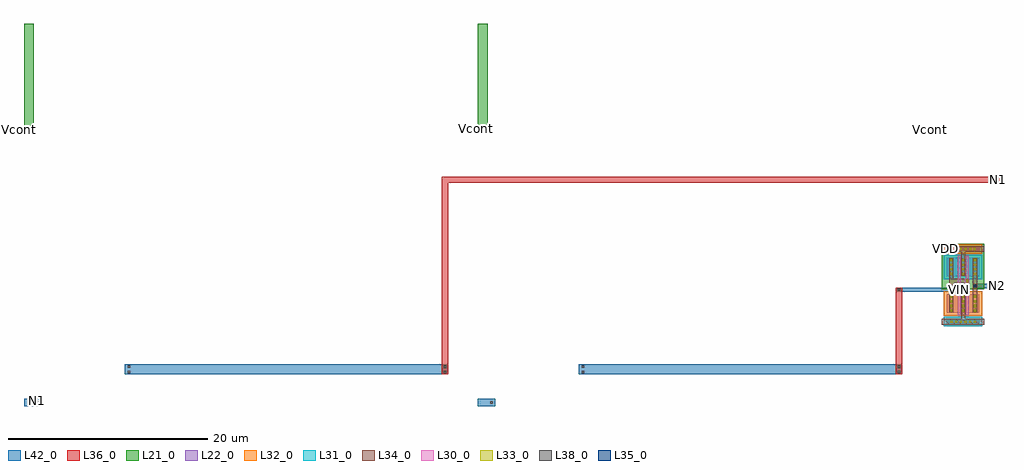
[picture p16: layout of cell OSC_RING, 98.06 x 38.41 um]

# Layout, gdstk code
import gdstk
lib = gdstk.Library(unit=1e-6, precision=5e-09)
def R(c, l, rs):  # rectangles x0, y0, x1, y1
    for r in rs: c.add(gdstk.rectangle(r[:2], r[2:], *l))
def A(c, l, x, y, w, h, nx, ny, dx, dy):  # array of equal rectangles
    R(c, l, [(x+i*dx, y+j*dy, x+i*dx+w, y+j*dy+h) for i in range(nx) for j in range(ny)])
L21_0 = (21, 0)
L22_0 = (22, 0)
L30_0 = (30, 0)
L31_0 = (31, 0)
L32_0 = (32, 0)
L33_0 = (33, 0)
L34_0 = (34, 0)
L35_0 = (35, 0)
L36_0 = (36, 0)
L38_0 = (38, 0)
L42_0 = (42, 0)

buff = lib.new_cell('BUFF')
R(buff, L21_0, [(-0.5,3.58,3.78,8.16)])
R(buff, L22_0, [(0,0.16,3.28,0.52), (0,1.22,3.28,3.09), (0,4.89,3.28,6.76), (0,7.46,3.28,7.82)])
R(buff, L30_0, [(1.1,1,1.38,6.98), (1.9,1,2.18,6.98), (1.02,3.33,1.46,3.77), (1.82,4.21,2.26,4.65)])
R(buff, L31_0, [(-0.3,-0.14,3.58,0.82), (-0.3,4.59,3.58,7.06)])
R(buff, L32_0, [(-0.3,0.92,3.58,3.39), (-0.3,7.16,3.58,8.12)])
A(buff, L33_0, 0.355, 0.23, 0.22, 0.22, 6, 2, 0.47, 7.3)
A(buff, L33_0, 0.34, 1.34, 0.22, 0.22, 1, 4, 0, 0.47)
A(buff, L33_0, 0.34, 1.34, 0.22, 0.22, 3, 4, 1.19, 0.47)
A(buff, L33_0, 0.34, 5.01, 0.22, 0.22, 1, 4, 0, 0.47)
A(buff, L33_0, 0.34, 5.01, 0.22, 0.22, 3, 4, 1.19, 0.47)
R(buff, L33_0, [(1.13,3.44,1.35,3.66), (1.93,4.32,2.15,4.54)])
R(buff, L34_0, [(-0.5,0.04,3.78,0.64), (1.43,0.34,1.85,3.03), (0.24,1.28,0.66,6.7), (2.62,1.28,3.04,6.7), (1.02,3.33,1.46,3.77), (0.24,4.21,2.26,4.65), (1.82,4.21,2.26,4.65), (1.43,4.95,1.85,7.64), (-0.5,7.34,3.78,7.94)])
buff.add(gdstk.Label('VIN', (1.24,3.55), layer=34, texttype=10))
buff.add(gdstk.Label('VOUT', (2.83,3.99), layer=34, texttype=10))
buff.add(gdstk.Label('VSS', (1.64,0.34), layer=34, texttype=10))
buff.add(gdstk.Label('VDD', (1.64,7.64), layer=34, texttype=10))

osc_ring = lib.new_cell('OSC_RING')
R(osc_ring, L21_0, [(44.61,56.46,45.61,67.22), (90.22,56.46,91.22,67.22)])
R(osc_ring, L35_0, [(138.44,40.38,138.7,40.64), (140.04,40.75,140.3,41.01)])
R(osc_ring, L36_0, [(86.58,32.01,87.25,51.7), (132.19,32.01,132.86,40.73), (138.35,40.29,138.79,40.73), (139.95,40.66,140.39,41.1), (86.58,51.26,142.67,51.84)])
R(osc_ring, L38_0, [(45.86,29.04,46.12,29.3), (91.47,29.04,91.73,29.3), (55.04,32.12,55.3,32.38), (86.78,32.12,87.04,32.38), (100.65,32.12,100.91,32.38), (132.39,32.12,132.65,32.38), (86.78,32.64,87.04,32.9), (132.39,32.64,132.65,32.9), (55.035,32.65,55.295,32.91), (100.645,32.65,100.905,32.91), (132.39,40.38,132.65,40.64), (138.44,40.38,138.7,40.64), (140.04,40.75,140.3,41.01)])
R(osc_ring, L42_0, [(44.61,28.81,46.37,29.57), (90.22,28.81,91.98,29.57), (54.74,32.01,87.25,33.02), (100.35,32.01,132.86,33.02), (132.19,40.29,138.79,40.73), (139.95,40.66,142.67,41.1)])
osc_ring.add(gdstk.Reference(buff, (137.33,36.96)))
osc_ring.add(gdstk.Label('VDD', (137.2,44.62), layer=34, texttype=10))
osc_ring.add(gdstk.Label('Vcont', (135.72,56.61), layer=34, texttype=10))
osc_ring.add(gdstk.Label('Vcont', (90.07,56.68), layer=34, texttype=10))
osc_ring.add(gdstk.Label('Vcont', (44.18,56.61), layer=34, texttype=10))
osc_ring.add(gdstk.Label('N2', (142.46,40.91), layer=42, texttype=10))
osc_ring.add(gdstk.Label('VIN', (138.57,40.48), layer=42, texttype=10))
osc_ring.add(gdstk.Label('N1', (142.56,51.55), layer=36, texttype=10))
osc_ring.add(gdstk.Label('N1', (46.01,29.36), layer=36, texttype=10))

lib.write_gds('OSC_RING.gds')
